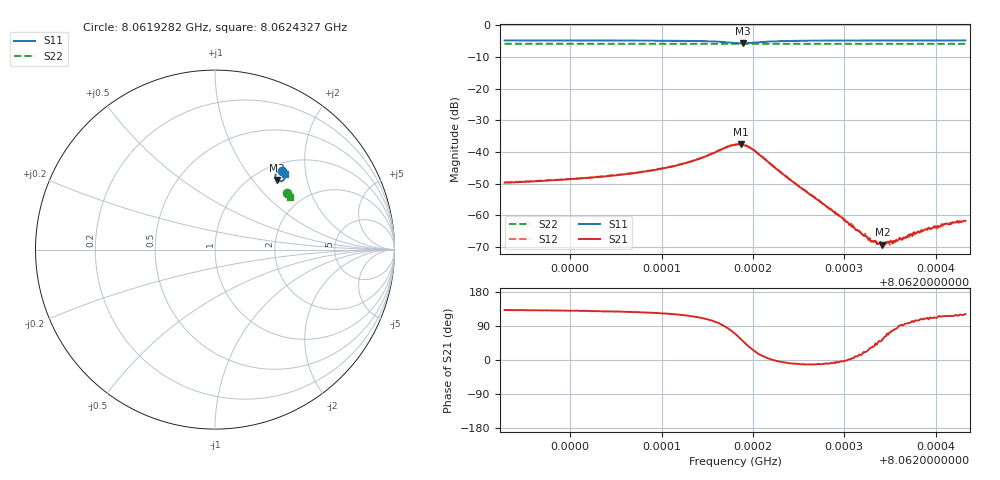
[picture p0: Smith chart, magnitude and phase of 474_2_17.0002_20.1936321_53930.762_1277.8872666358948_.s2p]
#  HZ  S  RI  R  50.00
! Rohde & Schwarz Vector Network Analyzer
! Rohde-Schwarz,ZNB20-2Port,1311601062101988,3.16
! Created: UTC 3/20/2024, 11:13:18 PM
! freq[Hz]  re:S11  im:S11  re:S21  im:S21  re:S12  im:S12  re:S22  im:S22
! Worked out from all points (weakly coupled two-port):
!   401 points, 8.0619282 GHz to 8.0624327 GHz, reference 50 ohm
!   highest |S21| = -37.55 dB at 8.0621867 GHz (marker M1); lowest = -69.3 dB at 8.0623419 GHz (marker M2)
!   lowest |S11| = -5.7 dB at 8.0621893 GHz (marker M3), VSWR 3.16, Z = 62.8 + j66.8 ohm
!   |S11| at or under -10 dB: nowhere
!   |S22| runs from -5.9 to -5.8 dB; largest |S21 - S12| = 0.001
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8.06192817e9  0.3724 0.4396  -0.00218 0.00244  -0.00205 0.00259  0.4013 0.3155
8.06201268e9  0.3787 0.4335  -0.00243 0.00295  -0.00228 0.0031  0.4043 0.3112
8.06206061e9  0.3829 0.4286  -0.00266 0.00356  -0.00252 0.00375  0.4062 0.3086
8.06209718e9  0.3866 0.4233  -0.00297 0.00447  -0.00273 0.00469  0.4075 0.3065
8.06213376e9  0.3903 0.4125  -0.00309 0.0065  -0.00272 0.00673  0.4087 0.3043
8.06218043e9  0.3614 0.3805  0.00462 0.0122  0.00529 0.012  0.4086 0.3013
8.06218674e9  0.348 0.3849  0.00753 0.0109  0.00819 0.0104  0.4083 0.3014
8.06218926e9  0.3436 0.3886  0.00836 0.00982  0.00904 0.0095  0.4082 0.3014
8.06220187e9  0.3361 0.413  0.0097 0.00416  0.00989 0.0036  0.4088 0.302
8.06223215e9  0.3577 0.435  0.00452 -0.000451  0.00454 -0.000743  0.4109 0.3012
8.06226494e9  0.3708 0.4347  0.00201 -0.000429  0.00194 -0.00054  0.4127 0.2994
8.06231666e9  0.3804 0.4308  0.000532 0.000141  0.000564 7.62e-05  0.4149 0.2965
8.06232927e9  0.3819 0.4299  0.00032 0.000208  0.000355 0.000223  0.4151 0.2959
8.06234188e9  0.3836 0.4289  0.000198 0.000281  0.000198 0.000286  0.4156 0.2951
8.06234945e9  0.3842 0.4284  0.00011 0.000354  0.000113 0.000338  0.4159 0.2949
8.06235576e9  0.3848 0.4279  5.76e-05 0.000376  9.79e-05 0.000376  0.4161 0.2945
8.06236585e9  0.3858 0.4273  -3.24e-05 0.000438  -1.62e-05 0.000404  0.4166 0.2941
8.06237215e9  0.3864 0.4269  -7.54e-05 0.000503  -5.65e-05 0.000476  0.4167 0.2938
8.06237846e9  0.387 0.4264  -0.000132 0.000495  -9.4e-05 0.000523  0.417 0.2933
8.06239486e9  0.3883 0.4253  -0.000222 0.00057  -0.000165 0.00058  0.4175 0.2924
8.06240999e9  0.3895 0.4244  -0.000321 0.000656  -0.000294 0.000667  0.4181 0.2918
8.0624327e9  0.3912 0.423  -0.000423 0.000698  -0.00037 0.000735  0.4189 0.2905
